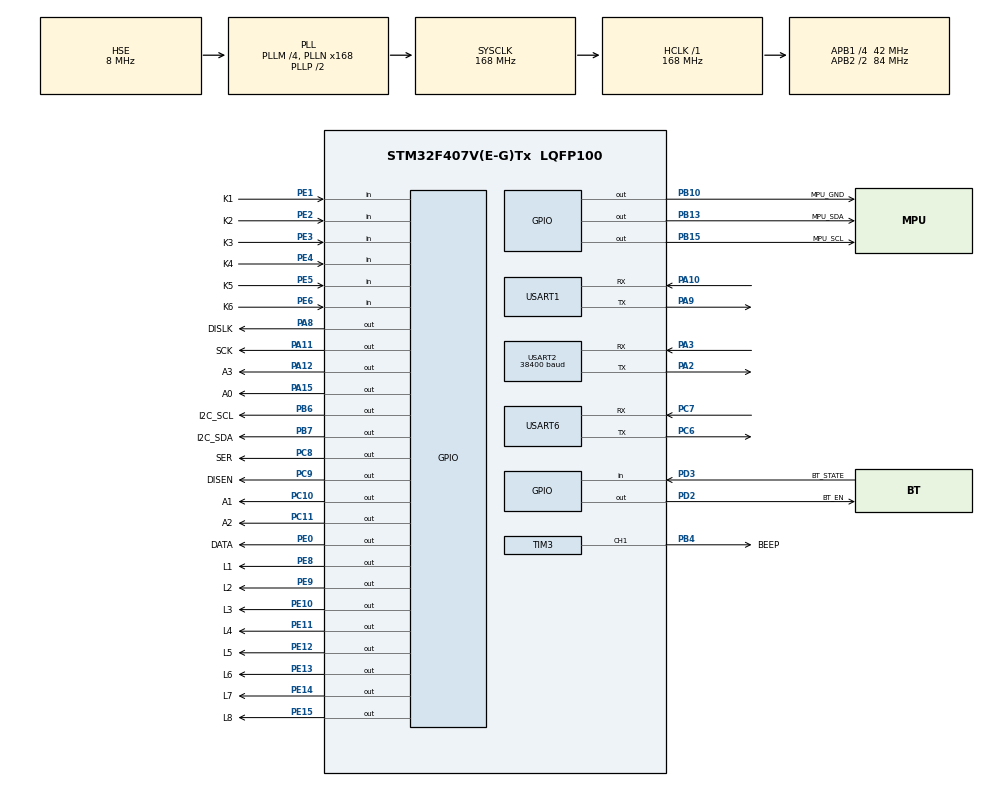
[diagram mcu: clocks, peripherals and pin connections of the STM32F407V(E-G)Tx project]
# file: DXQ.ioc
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Dma.Request0=USART2_RX
Dma.Request1=USART6_RX
Dma.Request2=USART1_RX
Dma.USART1_RX.2.Direction=DMA_PERIPH_TO_MEMORY
Dma.USART1_RX.2.FIFOMode=DMA_FIFOMODE_DISABLE
Dma.USART1_RX.2.Instance=DMA2_Stream2
Dma.USART1_RX.2.MemDataAlignment=DMA_MDATAALIGN_BYTE
Dma.USART1_RX.2.MemInc=DMA_MINC_ENABLE
Dma.USART1_RX.2.Mode=DMA_NORMAL
Dma.USART1_RX.2.PeriphDataAlignment=DMA_PDATAALIGN_BYTE
Dma.USART1_RX.2.PeriphInc=DMA_PINC_DISABLE
Dma.USART1_RX.2.Priority=DMA_PRIORITY_LOW
Dma.USART2_RX.0.Direction=DMA_PERIPH_TO_MEMORY
Dma.USART2_RX.0.FIFOMode=DMA_FIFOMODE_DISABLE
Dma.USART2_RX.0.Instance=DMA1_Stream5
Dma.USART2_RX.0.MemDataAlignment=DMA_MDATAALIGN_BYTE
Dma.USART2_RX.0.MemInc=DMA_MINC_ENABLE
Dma.USART2_RX.0.Mode=DMA_NORMAL
Dma.USART2_RX.0.PeriphDataAlignment=DMA_PDATAALIGN_BYTE
Dma.USART2_RX.0.PeriphInc=DMA_PINC_DISABLE
Dma.USART2_RX.0.Priority=DMA_PRIORITY_LOW
Dma.USART6_RX.1.Direction=DMA_PERIPH_TO_MEMORY
Dma.USART6_RX.1.FIFOMode=DMA_FIFOMODE_DISABLE
Dma.USART6_RX.1.Instance=DMA2_Stream1
Dma.USART6_RX.1.MemDataAlignment=DMA_MDATAALIGN_BYTE
Dma.USART6_RX.1.MemInc=DMA_MINC_ENABLE
Dma.USART6_RX.1.Mode=DMA_NORMAL
Dma.USART6_RX.1.PeriphDataAlignment=DMA_PDATAALIGN_BYTE
Dma.USART6_RX.1.PeriphInc=DMA_PINC_DISABLE
Dma.USART6_RX.1.Priority=DMA_PRIORITY_LOW
FREERTOS.Tasks01=MainTask,24,512,StartMainTask,Default,NULL,Dynamic,NULL,NULL;KeyTask,24,512,StartKeyTask,Default,NULL,Dynamic,NULL,NULL;UartTask,24,1024,StartUartTask,Default,NULL,Dynamic,NULL,NULL;GUITask,24,1024,StartGUITask,Default,NULL,Dynamic,NULL,NULL;DataTask,24,1024,StartDataTask,Default,NULL,Dynamic,NULL,NULL
FREERTOS.configTOTAL_HEAP_SIZE=30000
Mcu.Family=STM32F4
Mcu.Name=STM32F407V(E-G)Tx
Mcu.Package=LQFP100
NVIC.DMA1_Stream5_IRQn=true\:5\:0\:false\:false\:true\:true\:false\:true
NVIC.DMA2_Stream1_IRQn=true\:5\:0\:false\:false\:true\:true\:false\:true
NVIC.DMA2_Stream2_IRQn=true\:5\:0\:false\:false\:true\:true\:false\:true
NVIC.PriorityGroup=NVIC_PRIORITYGROUP_4
NVIC.TIM7_IRQn=true\:0\:0\:false\:false\:true\:false\:false\:true
NVIC.TimeBase=TIM7_IRQn
NVIC.TimeBaseIP=TIM7
NVIC.USART1_IRQn=true\:5\:0\:false\:false\:true\:true\:true\:true
NVIC.USART2_IRQn=true\:5\:0\:false\:false\:true\:true\:true\:true
NVIC.USART6_IRQn=true\:5\:0\:false\:false\:true\:true\:true\:true
PA10.Mode=Asynchronous
PA10.Signal=USART1_RX
PA11.GPIO_Label=SCK
PA11.Signal=GPIO_Output
PA12.GPIO_Label=A3
PA12.Signal=GPIO_Output
PA13.Mode=Serial_Wire
PA13.Signal=SYS_JTMS-SWDIO
PA14.Mode=Serial_Wire
PA14.Signal=SYS_JTCK-SWCLK
PA15.GPIO_Label=A0
PA15.Signal=GPIO_Output
PA2.Mode=Asynchronous
PA2.Signal=USART2_TX
PA3.Mode=Asynchronous
PA3.Signal=USART2_RX
PA8.GPIO_Label=DISLK
PA8.Signal=GPIO_Output
PA9.Mode=Asynchronous
PA9.Signal=USART1_TX
PB10.GPIO_Label=MPU_GND
PB10.Signal=GPIO_Output
PB13.GPIO_Label=MPU_SDA
PB13.GPIO_ModeDefaultOutputPP=GPIO_MODE_OUTPUT_OD
PB13.Signal=GPIO_Output
PB15.GPIO_Label=MPU_SCL
PB15.GPIO_ModeDefaultOutputPP=GPIO_MODE_OUTPUT_OD
PB15.Signal=GPIO_Output
PB4.GPIO_Label=BEEP
PB4.Signal=S_TIM3_CH1
PB6.GPIO_Label=I2C_SCL
PB6.GPIO_ModeDefaultOutputPP=GPIO_MODE_OUTPUT_OD
PB6.GPIO_Speed=GPIO_SPEED_FREQ_LOW
PB6.PinState=GPIO_PIN_RESET
PB6.Signal=GPIO_Output
PB7.GPIO_Label=I2C_SDA
PB7.GPIO_ModeDefaultOutputPP=GPIO_MODE_OUTPUT_OD
PB7.GPIO_Speed=GPIO_SPEED_FREQ_LOW
PB7.PinState=GPIO_PIN_RESET
PB7.Signal=GPIO_Output
PC10.GPIO_Label=A1
PC10.Signal=GPIO_Output
PC11.GPIO_Label=A2
PC11.Signal=GPIO_Output
PC6.Mode=Asynchronous
PC6.Signal=USART6_TX
PC7.Mode=Asynchronous
PC7.Signal=USART6_RX
PC8.GPIO_Label=SER
PC8.Signal=GPIO_Output
PC9.GPIO_Label=DISEN
PC9.Signal=GPIO_Output
PD2.GPIO_Label=BT_EN
PD2.Signal=GPIO_Output
PD3.GPIO_Label=BT_STATE
PD3.Signal=GPIO_Input
PE0.GPIO_Label=DATA
PE0.Signal=GPIO_Output
PE1.GPIO_Label=K1
PE1.GPIO_Mode=GPIO_MODE_INPUT
PE1.GPIO_PuPd=GPIO_PULLUP
PE1.Signal=GPIO_Input
PE10.GPIO_Label=L3
PE10.PinState=GPIO_PIN_SET
PE10.Signal=GPIO_Output
PE11.GPIO_Label=L4
PE11.PinState=GPIO_PIN_SET
PE11.Signal=GPIO_Output
PE12.GPIO_Label=L5
PE12.PinState=GPIO_PIN_SET
PE12.Signal=GPIO_Output
PE13.GPIO_Label=L6
PE13.PinState=GPIO_PIN_SET
PE13.Signal=GPIO_Output
PE14.GPIO_Label=L7
PE14.PinState=GPIO_PIN_SET
PE14.Signal=GPIO_Output
PE15.GPIO_Label=L8
PE15.PinState=GPIO_PIN_SET
PE15.Signal=GPIO_Output
PE2.GPIO_Label=K2
PE2.GPIO_Mode=GPIO_MODE_INPUT
PE2.GPIO_PuPd=GPIO_PULLUP
PE2.Signal=GPIO_Input
PE3.GPIO_Label=K3
PE3.GPIO_Mode=GPIO_MODE_INPUT
PE3.GPIO_PuPd=GPIO_PULLUP
PE3.Signal=GPIO_Input
PE4.GPIO_Label=K4
PE4.GPIO_Mode=GPIO_MODE_INPUT
PE4.GPIO_PuPd=GPIO_PULLUP
PE4.Signal=GPIO_Input
PE5.GPIO_Label=K5
PE5.GPIO_Mode=GPIO_MODE_INPUT
PE5.GPIO_PuPd=GPIO_PULLDOWN
PE5.Signal=GPIO_Input
PE6.GPIO_Label=K6
PE6.GPIO_Mode=GPIO_MODE_INPUT
PE6.GPIO_PuPd=GPIO_PULLDOWN
PE6.Signal=GPIO_Input
PE8.GPIO_Label=L1
PE8.PinState=GPIO_PIN_SET
PE8.Signal=GPIO_Output
PE9.GPIO_Label=L2
PE9.PinState=GPIO_PIN_SET
PE9.Signal=GPIO_Output
PH0-OSC_IN.Mode=HSE-External-Oscillator
PH0-OSC_IN.Signal=RCC_OSC_IN
PH1-OSC_OUT.Mode=HSE-External-Oscillator
PH1-OSC_OUT.Signal=RCC_OSC_OUT
ProjectManager.HeapSize=0x200
ProjectManager.StackSize=0x400
ProjectManager.TargetToolchain=MDK-ARM V5.27
RCC.48MHZClocksFreq_Value=84000000
RCC.AHBFreq_Value=168000000
RCC.APB1CLKDivider=RCC_HCLK_DIV4
RCC.APB1Freq_Value=42000000
RCC.APB1TimFreq_Value=84000000
RCC.APB2CLKDivider=RCC_HCLK_DIV2
RCC.APB2Freq_Value=84000000
RCC.APB2TimFreq_Value=168000000
RCC.CortexFreq_Value=168000000
RCC.HCLKFreq_Value=168000000
RCC.HSE_VALUE=8000000
RCC.HSI_VALUE=16000000
RCC.LSE_VALUE=32768
RCC.PLLM=4
RCC.PLLN=168
RCC.PLLSourceVirtual=RCC_PLLSOURCE_HSE
RCC.SYSCLKFreq_VALUE=168000000
RCC.SYSCLKSource=RCC_SYSCLKSOURCE_PLLCLK
RCC.VCOOutputFreq_Value=336000000
SH.S_TIM3_CH1.0=TIM3_CH1,PWM Generation1 CH1
TIM3.Channel-PWM\ Generation1\ CH1=TIM_CHANNEL_1
TIM3.Period=1000-1
TIM3.Prescaler=84-1
TIM3.Pulse-PWM\ Generation1\ CH1=500
USART1.VirtualMode=VM_ASYNC
USART2.BaudRate=38400
USART2.VirtualMode=VM_ASYNC
USART6.VirtualMode=VM_ASYNC
VP_FREERTOS_VS_CMSIS_V2.Mode=CMSIS_V2
VP_SYS_VS_tim7.Mode=TIM7
VP_TIM3_VS_ClockSourceINT.Mode=Internal
board=custom

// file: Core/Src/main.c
/* USER CODE BEGIN Header */
/**
  ******************************************************************************
  * @file           : main.c
  * @brief          : Main program body
  ******************************************************************************
  * @attention
  *
  * <h2><center>&copy; Copyright (c) 2021 STMicroelectronics.
  * All rights reserved.</center></h2>
  *
  * This software component is licensed by ST under Ultimate Liberty license
  * SLA0044, the "License"; You may not use this file except in compliance with
  * the License. You may obtain a copy of the License at:
  *                             www.st.com/SLA0044
  *
  ******************************************************************************
  */
/* USER CODE END Header */
#include "main.h"
#include "cmsis_os.h"
#include "dma.h"
#include "tim.h"
#include "usart.h"
#include "gpio.h"

void SystemClock_Config(void);
void MX_FREERTOS_Init(void);

int main(void)
{

  /* MCU Configuration--------------------------------------------------------*/

  /* Reset of all peripherals, Initializes the Flash interface and the Systick. */
  HAL_Init();

  /* Configure the system clock */
  SystemClock_Config();

  /* Initialize all configured peripherals */
  MX_GPIO_Init();
  MX_DMA_Init();
  MX_USART1_UART_Init();
  MX_TIM3_Init();
  MX_USART2_UART_Init();
  MX_USART6_UART_Init();

  /* Init scheduler */
  osKernelInitialize();  /* Call init function for freertos objects (in freertos.c) */
  MX_FREERTOS_Init();
  /* Start scheduler */
  osKernelStart();

  /* We should never get here as control is now taken by the scheduler */
  /* Infinite loop */
  while (1)
  {

  }
}

void SystemClock_Config(void)
{
  RCC_OscInitTypeDef RCC_OscInitStruct = {0};
  RCC_ClkInitTypeDef RCC_ClkInitStruct = {0};

  /** Configure the main internal regulator output voltage
  */
  __HAL_RCC_PWR_CLK_ENABLE();
  __HAL_PWR_VOLTAGESCALING_CONFIG(PWR_REGULATOR_VOLTAGE_SCALE1);
  /** Initializes the RCC Oscillators according to the specified parameters
  * in the RCC_OscInitTypeDef structure.
  */
  RCC_OscInitStruct.OscillatorType = RCC_OSCILLATORTYPE_HSE;
  RCC_OscInitStruct.HSEState = RCC_HSE_ON;
  RCC_OscInitStruct.PLL.PLLState = RCC_PLL_ON;
  RCC_OscInitStruct.PLL.PLLSource = RCC_PLLSOURCE_HSE;
  RCC_OscInitStruct.PLL.PLLM = 4;
  RCC_OscInitStruct.PLL.PLLN = 168;
  RCC_OscInitStruct.PLL.PLLP = RCC_PLLP_DIV2;
  RCC_OscInitStruct.PLL.PLLQ = 4;
  if (HAL_RCC_OscConfig(&RCC_OscInitStruct) != HAL_OK)
  {
    Error_Handler();
  }
  /** Initializes the CPU, AHB and APB buses clocks
  */
  RCC_ClkInitStruct.ClockType = RCC_CLOCKTYPE_HCLK|RCC_CLOCKTYPE_SYSCLK
                              |RCC_CLOCKTYPE_PCLK1|RCC_CLOCKTYPE_PCLK2;
  RCC_ClkInitStruct.SYSCLKSource = RCC_SYSCLKSOURCE_PLLCLK;
  RCC_ClkInitStruct.AHBCLKDivider = RCC_SYSCLK_DIV1;
  RCC_ClkInitStruct.APB1CLKDivider = RCC_HCLK_DIV4;
  RCC_ClkInitStruct.APB2CLKDivider = RCC_HCLK_DIV2;

  if (HAL_RCC_ClockConfig(&RCC_ClkInitStruct, FLASH_LATENCY_5) != HAL_OK)
  {
    Error_Handler();
  }
}

 /**
  * @brief  Period elapsed callback in non blocking mode
  * @note   This function is called  when TIM7 interrupt took place, inside
  * HAL_TIM_IRQHandler(). It makes a direct call to HAL_IncTick() to increment
  * a global variable "uwTick" used as application time base.
  * @param  htim : TIM handle
  * @retval None
  */
void HAL_TIM_PeriodElapsedCallback(TIM_HandleTypeDef *htim)
{
  if (htim->Instance == TIM7) {
    HAL_IncTick();
  }
}

void Error_Handler(void)
{
  __disable_irq();
  while (1)
  {
  }
}

/************************ (C) COPYRIGHT STMicroelectronics *****END OF FILE****/

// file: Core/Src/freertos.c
/* USER CODE BEGIN Header */
/**
  ******************************************************************************
  * File Name          : freertos.c
  * Description        : Code for freertos applications
  ******************************************************************************
  * @attention
  *
  * <h2><center>&copy; Copyright (c) 2021 STMicroelectronics.
  * All rights reserved.</center></h2>
  *
  * This software component is licensed by ST under Ultimate Liberty license
  * SLA0044, the "License"; You may not use this file except in compliance with
  * the License. You may obtain a copy of the License at:
  *                             www.st.com/SLA0044
  *
  ******************************************************************************
  */
/* USER CODE END Header */

#include "FreeRTOS.h"
#include "task.h"
#include "main.h"
#include "cmsis_os.h"

/* USER CODE BEGIN Includes */
#include "gpio.h"
#include "GUI.h"
#include <stdio.h>
#include <stdlib.h>
#include "tim.h"
#include "DS_18B20.h"
#include "MPU6050.h"
#include "string.h"
#include "Display_3D.h"
#include "comm.h"
#include "ESP01.h"

/* USER CODE END Includes */

/* USER CODE BEGIN PD */
#define WS_LOGO 0
#define WS_GUI1 1
#define WS_GUI2 2
#define WS_GUI3 3
#define WS_GUI4 4
#define MAX_DATA_LEN 77
extern GUI_FLASH const GUI_FONT GUI_FontHZ_KaiTi_20;  //导入字体库和图片
extern GUI_FLASH const GUI_FONT GUI_FontHZ_KaiTi_16;
extern GUI_FLASH const GUI_FONT GUI_FontHZ_SimSun_12;
extern GUI_CONST_STORAGE GUI_BITMAP bmh;
extern GUI_CONST_STORAGE GUI_BITMAP bmz;

/* USER CODE END PD */

/* USER CODE BEGIN Variables */
int g_ws = WS_LOGO;    //表示当前的UI界面
uint32_t intick = 0;   //用于记录时间戳

volatile float temp = 0;

uint8_t tempwarn = 0;
uint8_t mpuwarn = 0;
uint8_t g_bUping = 0;
uint8_t g_mpustep = 7;     //震动检测灵敏度
uint8_t g_warntime = 30;   //报警时长
uint16_t g_upstep = 100;   //上传间隔
float templimit = 35.0f;   //温度上限

uint8_t paridx = 0;        //参数索引

uint8_t pageidx = 0;
uint8_t g_fax_data[MAX_DATA_LEN];
uint8_t g_fay_data[MAX_DATA_LEN];
uint8_t g_faz_data[MAX_DATA_LEN];
uint8_t g_temp_data[MAX_DATA_LEN];
uint16_t curve_speed = 1000;
uint32_t warntick = 0;
uint32_t K1234_tick = 0;
uint32_t beeptick = 0;
float curve_fax = 0;
float curve_fay = 0;
float curve_faz = 0;
float curve_temp = 0;
float tempMin = 20;
float tempMax = 40;

unsigned char TAB_Kai[128] = {	/* 楷 0xbfac*/
________,________,________,________,
________,________,________,________,
________,________,________,________,
________,________,________,________,
_____XXX,____XXX_,____XXX_,________,
_____XXX,____XX__,____XX__,________,
_____XXX,____XX__,____XX__,________,
_____XXX,____XX__,____XX__,__XX____,
_____XXX,____XXXX,XXX_XX__,_XXXX___,
_____XXX,____XX__,____XX_X,XXX_____,
_XXXXXXX,XXXXXX__,____XXXX,X_______,
_____XXX,____XX__,____XXXX,________,
_____XXX,____XX__,XXX_XX__,________,
_____XXX,____XXXX,XXX_XX__,___X____,
_____XXX,X__XXXXX,X___XX__,___XX___,
____XXXX,XX_XXX__,____XXX_,__XXX___,
____XXXX,XXX_____,__X__XXX,XXXX____,
___XXXXX,_XX_____,_XXX____,________,
___XXXXX,_XX_____,_XX_____,________,
__XXXXXX,________,_XX_____,________,
_XXX_XXX,_____XXX,XXXXXXXX,XX______,
_XXX_XXX,_____XX_,________,XX______,
_XX__XXX,_____XX_,________,XX______,
_____XXX,_____XX_,________,XX______,
_____XXX,_____XXX,XXXXXXXX,XX______,
_____XXX,_____XX_,________,XX______,
_____XXX,_____XX_,________,XX______,
_____XXX,_____XX_,________,XX______,
_____XXX,_____XXX,XXXXXXXX,XX______,
_____XXX,_____XX_,________,XX______,
_____XXX,_____XX_,________,XX______,
________,________,________,________
};

unsigned char TAB_Wen[128] = {	/* 文 0xcec4*/
________,________,________,________,
________,________,________,________,
________,______X_,________,________,
________,______XX,________,________,
________,_______X,X_______,________,
________,_______X,XX______,________,
________,_______X,XX______,___X____,
________,________,X_______,__XXX___,
__XXXXXX,XXXXXXXX,XXXXXXXX,XXXXXX__,
________,__X_____,____XXX_,________,
________,__X_____,____XX__,________,
________,__X_____,____XX__,________,
________,__XX____,___XXX__,________,
________,___X____,___XXX__,________,
________,___X____,___XX___,________,
________,___XX___,__XXX___,________,
________,____X___,__XXX___,________,
________,____XX__,__XX____,________,
________,____XX__,_XXX____,________,
________,_____XX_,_XX_____,________,
________,_____XXX,XXX_____,________,
________,______XX,XX______,________,
________,______XX,X_______,________,
________,______XX,XX______,________,
________,_____XXX,XXX_____,________,
________,___XXX__,_XXXX___,________,
________,__XXX___,__XXXXX_,________,
________,XXXX____,____XXXX,XXX_____,
______XX,XX______,______XX,XXXXXX__,
____XXX_,________,________,XXXX____,
__XX____,________,________,________,
________,________,________,________
};

/* USER CODE END Variables */
/* Definitions for MainTask */
osThreadId_t MainTaskHandle;
const osThreadAttr_t MainTask_attributes = {
  .name = "MainTask",
  .stack_size = 512 * 4,
  .priority = (osPriority_t) osPriorityNormal,
};
/* Definitions for KeyTask */
osThreadId_t KeyTaskHandle;
const osThreadAttr_t KeyTask_attributes = {
  .name = "KeyTask",
  .stack_size = 512 * 4,
  .priority = (osPriority_t) osPriorityNormal,
};
/* Definitions for UartTask */
osThreadId_t UartTaskHandle;
const osThreadAttr_t UartTask_attributes = {
  .name = "UartTask",
  .stack_size = 1024 * 4,
  .priority = (osPriority_t) osPriorityNormal,
};
/* Definitions for GUITask */
osThreadId_t GUITaskHandle;
const osThreadAttr_t GUITask_attributes = {
  .name = "GUITask",
  .stack_size = 1024 * 4,
  .priority = (osPriority_t) osPriorityNormal,
};
/* Definitions for DataTask */
osThreadId_t DataTaskHandle;
const osThreadAttr_t DataTask_attributes = {
  .name = "DataTask",
  .stack_size = 1024 * 4,
  .priority = (osPriority_t) osPriorityNormal,
};

/* USER CODE BEGIN FunctionPrototypes */
void WSLogo(void);
void DrawLogo(void);
void DrawGUI1(void);
void DrawGUI2(void);
void DrawGUI3(void);
void DrawGUI4(void);
void Beep(int time,int tune);
void BeepDone(void);
void DispSeg(uint8_t num[4],uint8_t dot);
void InitESP8266(void);

/* USER CODE END FunctionPrototypes */

void StartMainTask(void *argument);
void StartKeyTask(void *argument);
void StartUartTask(void *argument);
void StartGUITask(void *argument);
void StartDataTask(void *argument);

void MX_FREERTOS_Init(void); /* (MISRA C 2004 rule 8.1) */

void MX_FREERTOS_Init(void) {

  /* Create the thread(s) */
  /* creation of MainTask */
  MainTaskHandle = osThreadNew(StartMainTask, NULL, &MainTask_attributes);

  /* creation of KeyTask */
  KeyTaskHandle = osThreadNew(StartKeyTask, NULL, &KeyTask_attributes);

  /* creation of UartTask */
  UartTaskHandle = osThreadNew(StartUartTask, NULL, &UartTask_attributes);

  /* creation of GUITask */
  GUITaskHandle = osThreadNew(StartGUITask, NULL, &GUITask_attributes);

  /* creation of DataTask */
  DataTaskHandle = osThreadNew(StartDataTask, NULL, &DataTask_attributes);

}

void StartMainTask(void *argument)
{
  /* USER CODE BEGIN StartMainTask */
	uint8_t num[4] = {0};
  /* Infinite loop */
  for(;;)
  {
		switch(g_ws)
		{
			case WS_LOGO:
				WSLogo();
			  break;
			default:
				SetLeds(0);
			  break;
		}

		if((tempwarn || mpuwarn) && g_warntime > 0)
		{
			if(warntick == 0)
				warntick = osKernelGetTickCount();
			else if(osKernelGetTickCount() >= warntick + 1000 * g_warntime)
			{
				tempwarn = mpuwarn = 0;
				warntick = 0;
			}
			else
			{
				uint32_t tic = warntick + 1000 * g_warntime - osKernelGetTickCount();
				num[0] = (tic / 10000) % 10;
				num[1] = (tic / 1000) % 10;
				num[2] = (tic / 100) % 10;
				num[3] = (tic / 10) % 10;

				if((num[2] == 1 || num[2] == 3 || num[2] == 5) && mpuwarn == 1)
					Beep(100,num[2]);
				if((num[2] == 2 || num[2] == 4 || num[2] == 6) && tempwarn == 1)
					Beep(100,num[2]);
			}
		}
		else
			num[0] = num[1] = num[2] = num[3] = ' ';

		DispSeg(num,2);
		BeepDone();

    osDelay(1);
  }
  /* USER CODE END StartMainTask */
}

void StartKeyTask(void *argument)
{
  /* USER CODE BEGIN StartKeyTask */
  /* Infinite loop */
  for(;;)
  {
		uint8_t key = ScanKey();  //获取按键值
		if (key > 0)
			printf("%02X\n",key);   //在串口上输出按键值

		if((mpuwarn || tempwarn) == 0)
		{
			K1234_tick = 0;
			switch(g_ws)
			{
				case WS_LOGO:
					if(key == KEY5)       //按下KEY5就直接进入主界面，计时器归零
					{
						g_ws = WS_GUI1;
						intick = 0;
					}
					break;
				case WS_GUI1:
					if(key == KEY1)
					{
						g_ws = WS_GUI4;
						pageidx = 0;
					}
					else if(key == KEY4)
					{
						g_ws = WS_GUI2;
						pageidx = 0;
					}
					else if(key == KEY2)
					{
						if(pageidx > 0)
							--pageidx;
					}
					else if(key == KEY3)
					{
						if(pageidx < 2)
							++pageidx;
					}
					else if(key == KEY6)
					{
						g_ws = WS_LOGO;
						pageidx = 0;
					}
					break;
				case WS_GUI2:
					if(key == KEY1)
					{
						g_ws = WS_GUI1;
						pageidx = 0;
					}
					else if(key == KEY4)
					{
						g_ws = WS_GUI3;
						InitESP8266();
						pageidx = 0;
					}
					else if(key == KEY2)
					{
						if(pageidx > 0)
							--pageidx;
					}
					else if(key == KEY3)
					{
						if(pageidx < 4)
							++pageidx;
					}
					else if(key == KEY6)
					{
						g_ws = WS_LOGO;
						pageidx = 0;
					}
          else if(key == KEY5)
					{
						if(curve_speed == 50)
							curve_speed = 1000;
						else
							curve_speed = 50;
					}
					break;
				case WS_GUI3:
					if(key == KEY1)
					{
						g_ws = WS_GUI2;
						pageidx = 0;
					}
					else if(key == KEY4)
					{
						g_ws = WS_GUI4;
						pageidx = 0;
					}
					else if(key == KEY2)
					{
						g_bUping = 0;
					}
					else if(key == KEY3)
					{
						g_bUping = 1;
					}
					else if(key == KEY5)
					{
						if(pageidx == 0)
						{
							InitESP8266();
						}
					}
					else if(key == KEY6)
					{
						g_ws = WS_LOGO;
						pageidx = 0;
					}
					break;
				case WS_GUI4:
					if(key == KEY1)
					{
						g_ws = WS_GUI3;
						pageidx = 0;
						InitESP8266();
					}
					else if(key == KEY4)
					{
						g_ws = WS_GUI1;
						pageidx = 0;
					}
					else if(key == KEY5)
					{
						++paridx;
						paridx %= 4;
					}
					else if(key == KEY2)
					{
						if(paridx == 0)
						{
							if(templimit > 0)
								templimit -= 1;
						}
						if(paridx == 1)
						{
							if(g_mpustep > 0)
								--g_mpustep;
						}
						if(paridx == 2)
						{
							if(g_warntime > 0)
								--g_warntime;
						}
						if(paridx == 3)
						{
							if(g_upstep > 100)
								g_upstep -= 100;
						}
					}
					else if(key == KEY3)
					{
						if(paridx == 0)
						{
							if(templimit < 90)
								templimit += 1;
						}
						if(paridx == 1)
						{
							if(g_mpustep < 9)
								++g_mpustep;
						}
						if(paridx == 2)
						{
							if(g_warntime < 60)
								++g_warntime;
						}
						if(paridx == 3)
						{
							if(g_upstep < 10000)
								g_upstep += 100;
						}
					}
					else if(key == KEY6)
					{
						g_ws = WS_LOGO;
						pageidx = 0;
					}
					break;
				default:
					if(key == KEY6)
					{
						g_ws = WS_LOGO;
						pageidx = 0;
					}
					break;
				}
		}
		else
		{
			if(key == (KEY1 | KEY2 | KEY3 | KEY4))
			{

				if(K1234_tick == 0)
					K1234_tick = osKernelGetTickCount();
				else
					if(osKernelGetTickCount() >= K1234_tick + 3000)
					{
						mpuwarn = tempwarn = 0;
						K1234_tick = 0;
						warntick = 0;
					}
			}
			else
			{
				if(key > 0)
					K1234_tick = 0;
			}
		}

    osDelay(1);
  }
  /* USER CODE END StartKeyTask */
}

void StartUartTask(void *argument)
{
  /* USER CODE BEGIN StartUartTask */
	StartRecvUart1();
	ESP_Init();
  /* Infinite loop */
  for(;;)
  {
		if(recv1_len > 0)
		{
			printf("%s",recv1_buff);
			recv1_len = 0;
		}

		ESP_Proc();
		if(esp8266.recv_len > 0)
		{
			printf("%s",esp8266.recv_data);
			char *pb = (char *)(esp8266.recv_data);
			char buf[40];
			if(pb[0] == 'Q' && pb[1] == 'P' && pb[2] == 'A' && pb[3] == 'R' && pb[4] == 'A')   //查询函数、应答
			{
				sprintf(buf,"P1:%.0f, P2:%d, P3:%d, P4:%d\n",templimit,g_mpustep,g_warntime,g_upstep);
				USendStr(&huart6,(uint8_t *)buf,strlen(buf));
			}
			else if(pb[0] == 'P' && pb[1] == '1' && pb[2] == ':')                              //参数设置
			{
				templimit = atof(pb + 3);
				pb = strstr(pb,"P2:");
				if(pb)
				{
					g_mpustep = atoi(pb + 3);

					pb = strstr(pb,"P3:");
					if(pb)
					{
						g_warntime = atoi(pb + 3);

						pb = strstr(pb,"P4:");
						if(pb)
						{
							g_upstep = atoi(pb + 3);

							USendStr(&huart6,(uint8_t *)"OK\n",3);
						}
					}
				}
			}
			else if(pb[0] == 'O' && pb[1] == 'P' && pb[2] == 'E' && pb[3] == 'N')
				g_bUping = 1;
			else if(pb[0] == 'S' && pb[1] == 'T' && pb[2] == 'O' && pb[3] == 'P')
				g_bUping = 0;

			esp8266.recv_len = 0;
		}

    osDelay(1);
  }
  /* USER CODE END StartUartTask */
}

void StartGUITask(void *argument)
{
  /* USER CODE BEGIN StartGUITask */
  /* Infinite loop */
	GUI_Init();
    for(;;)
    {
			switch(g_ws)
			{
				case WS_LOGO:
					DrawLogo();
					break;
				case WS_GUI1:
					DrawGUI1();
					break;
				case WS_GUI2:
					DrawGUI2();
					break;
				case WS_GUI3:
					DrawGUI3();
					break;
				case WS_GUI4:
					DrawGUI4();
					break;
				default:
					break;
			}
      osDelay(100);
    }
  /* USER CODE END StartGUITask */
}

void StartDataTask(void *argument)
{
  /* USER CODE BEGIN StartDataTask */
	osDelay(1000);

	ds18b20_init();

	uint8_t mpuok = MPU_init();
	uint8_t cnt = 0;
	uint8_t idx = 0;
	uint8_t temp_idx = 0;
	float ft;
	float tempAvg = (tempMin + tempMax) / 2;
	while(cnt++ < 5 && !mpuok)
	{
		osDelay(500);
		mpuok = MPU_init();
	}

	uint32_t dstick = 0;
	uint32_t dscurvetick = 0;
	uint32_t mputick = 0;
	uint32_t mpucurvetick = 0;
	uint32_t uptick=0;

	int warcnt = 0;

  /* Infinite loop */
  for(;;)
  {
		if(osKernelGetTickCount() >= dstick + 500)
		{
			dstick = osKernelGetTickCount();
			ft = ds18b20_read();
    }
		if(ft < 125)
		{
				temp = ft;
				if(osKernelGetTickCount() >= dscurvetick + curve_speed)
				{
					tempAvg = (tempMin + tempMax) / 2;
					dscurvetick = osKernelGetTickCount();
					curve_temp = temp;
					g_temp_data[temp_idx] = 32 - (curve_temp - tempAvg) * (40 / (tempMax - tempMin));
					++temp_idx;
					if(temp_idx >= MAX_DATA_LEN)
					{
						memcpy(g_temp_data,g_temp_data + 1,MAX_DATA_LEN - 1);

						temp_idx = MAX_DATA_LEN - 1;
					}
				}

				if(temp >= templimit)
				{
					printf("temp:%.1f\n",temp);
					tempwarn = 1;
				}
		}

		if(mpuok)
		{
			if(osKernelGetTickCount() >= mputick + 50)
			{
				mputick = osKernelGetTickCount();
				MPU_getdata();
				if(osKernelGetTickCount() >= mpucurvetick + curve_speed)
				{
					mpucurvetick = osKernelGetTickCount();
					curve_fax = fAX;
					curve_fay = fAY;
					curve_faz = fAZ;
					g_fax_data[idx] = 32 - fAX * 20 / 90;
					g_fay_data[idx] = 32 - fAY * 20 / 180;
					g_faz_data[idx] = 32 - fAZ * 20 / 180;
					++idx;
					if(idx >= MAX_DATA_LEN)
					{
						memcpy(g_fax_data,g_fax_data + 1,MAX_DATA_LEN - 1);
						memcpy(g_fay_data,g_fay_data + 1,MAX_DATA_LEN - 1);
						memcpy(g_faz_data,g_faz_data + 1,MAX_DATA_LEN - 1);

						idx = MAX_DATA_LEN - 1;
					}
				}

				if(g_mpustep > 0 && (ax * ax + ay * ay + az * az > 150000000 * (10 - g_mpustep)))
				{
					if(++warcnt >= 5)
					{
						mpuwarn = 1;
						printf("axyz:%6d %6d %6d, gxyz:%6d %6d %6d\n",ax,ay,az,gx,gy,gz);
					}
				}
				else
					warcnt = 0;
			}
		}

		if(g_bUping && esp8266.bconn)
		{
			if(osKernelGetTickCount() >= uptick + g_upstep)
			{
				uptick = osKernelGetTickCount();

				char buf[100];
				sprintf(buf,"T:%4.1f, A:%6d %6d %6d,G:%6d %6d %6d, F:%5.1f %5.1f %5.1f, W:%d\n",
				        temp,ax,ay,az,gx,gy,gz,fAX,fAY,fAZ,(tempwarn ? 1 : 0) + (mpuwarn ? 2 : 0));
				USendStr(&huart6,(uint8_t *)buf,strlen(buf));
			}
		}
    osDelay(1);
  }
  /* USER CODE END StartDataTask */
}

/* USER CODE BEGIN Application */
void WSLogo(void)
{
	static uint32_t tick = 0;
	static uint8_t leds_sta = 0x00;

	if(intick == 0)                          //如果计时器为0，说明没有初始化
		intick = osKernelGetTickCount();       //计时器读取当前时间戳
	else
	{
		if(osKernelGetTickCount() >= intick + 8000)  //如果距离启动已经过去8秒，进入主界面
		{
			intick = 0;                          //复位计时器
			g_ws = WS_GUI1;
			Beep(500,3);                           //蜂鸣器鸣叫
		}
	}

	SetLeds(leds_sta);                       //设置LED灯
	if(osKernelGetTickCount() >= tick + 500) //每过1秒翻转一次LED
	{
		leds_sta = ~leds_sta;
		tick = osKernelGetTickCount();         //更新另一个计时器tick的值
	}
}

void DrawLogo(void)
{
	if(intick == 0)
		intick = osKernelGetTickCount();
	else
	{
		if(osKernelGetTickCount() <= intick + 2000)  //0-1秒末
		{
			GUI_Clear();          //清屏
			GUI_SetFont(&GUI_FontHZ_KaiTi_20);   //设置字体
			GUI_DispStringHCenterAt("防火、防盗远\n程监测器设计",64,12);   //屏幕为128*64
			GUI_Update();        //刷新屏幕来显示内容
		}
		else if((osKernelGetTickCount() <= intick + 5000))  //2秒初-4秒末
		{
			GUI_Clear();
			GUI_SetFont(&GUI_FontHZ_KaiTi_16);
			GUI_DispStringHCenterAt("成员1:周楷文",64,0);
			GUI_DispStringHCenterAt("18041838",96,16);
			GUI_DispStringHCenterAt("成员2:胡彦成",64,32);
			GUI_DispStringHCenterAt("18041814",96,50);
			GUI_Update();
		}
		else if((osKernelGetTickCount() <= intick + 8000))  //5秒初-7秒末
		{
			GUI_Clear();
			GUI_DrawBitmap(&bmz,0,0);
			GUI_DrawBitmap(&bmh,64,0);
			GUI_Update();
		}
		else
			intick = 0;
	}
}

void DrawGUI1(void)
{
	GUI_Clear();
	GUI_SetFont(&GUI_FontHZ_SimSun_12);
	GUI_SetColor(GUI_COLOR_BLACK);
	GUI_DispStringAt("实时监测",0,0);
	GUI_SetColor(GUI_COLOR_WHITE);
	GUI_DispStringAt("数据曲线",0,13);
	GUI_DispStringAt("无线通信",0,26);
	GUI_DispStringAt("参数设置",0,39);
	GUI_DispStringAt("K1︽  K2《 K3》  K4︾",0,52);

	GUI_DrawHLine(52,0,128);
	GUI_DrawVLine(48,0,52);

	char buf[20];

	if(pageidx == 0)
	{
		GUI_DispStringAt("当前温度:",50,0);
		GUI_DispStringAt("震动报警:",50,26);
		sprintf(buf,"%.1f℃",temp);
		GUI_DispStringAt(buf,90,13);
		GUI_DispStringAt(mpuwarn ? "是" : "否",90,39);
	}
	else if(pageidx == 1)
	{
		sprintf(buf,"ax:%6d",ax);
		GUI_DispStringAt(buf,50,0);
		if(ax > 0)
			GUI_FillRect(70,13,70 + ax * 55 /32768,16);
		else if(ax < 0)
			GUI_DrawRect(70,30,70 + ax * 55 /32768,33);
		sprintf(buf,"ay:%6d",ay);
		GUI_DispStringAt(buf,50,17);
		if(ay > 0)
			GUI_FillRect(70,30,70 + ay * 55 /32768,33);
		else if(ay < 0)
			GUI_DrawRect(70,13,70 + ay * 55 /32768,16);
		sprintf(buf,"az:%6d",az);
		GUI_DispStringAt(buf,50,34);
		if(az > 0)
			GUI_FillRect(70,47,70 + az * 55 /32768,50);
		else if(az < 0)
			GUI_DrawRect(70,47,70 + az * 55 /32768,50);
	}
	else if(pageidx == 2)
	{
		sprintf(buf,"gx:%6d",gx);
		GUI_DispStringAt(buf,50,0);
		if(gx > 0)
			GUI_FillRect(70,13,70 + gx * 55 /32768,16);
		else if(gx < 0)
			GUI_DrawRect(70,30,70 + gx * 55 /32768,33);
		sprintf(buf,"gy:%6d",gy);
		GUI_DispStringAt(buf,50,17);
		if(gy > 0)
			GUI_FillRect(70,30,70 + gy * 55 /32768,33);
		else if(gy < 0)
			GUI_DrawRect(70,13,70 + gy * 55 /32768,16);
		sprintf(buf,"gz:%6d",gz);
		GUI_DispStringAt(buf,50,34);
		if(gz > 0)
			GUI_FillRect(70,47,70 + gz * 55 /32768,50);
		else if(gz < 0)
			GUI_DrawRect(70,47,70 + gz * 55 /32768,50);
	}
	GUI_Update();
}

void DrawGUI2(void)
{
	char str[30];

	GUI_Clear();
	GUI_SetFont(&GUI_FontHZ_SimSun_12);
	GUI_DispStringAt("实时监测",0,0);
	GUI_SetColor(GUI_COLOR_BLACK);
	GUI_DispStringAt("数据曲线",0,13);
	GUI_SetColor(GUI_COLOR_WHITE);
	GUI_DispStringAt("无线通信",0,26);
	GUI_DispStringAt("参数设置",0,39);
	GUI_DispStringAt("K1︽  K2《 K3》  K4︾",0,52);

	GUI_DrawHLine(52,0,128);
	GUI_DrawVLine(48,0,52);

	uint8_t i;
	int sw = 128 - 48;
	int sh = 64 - 12 - 12;
	int ox = 48;
	int oy = 12 + sh;
//	float dh = sh/(tempMax - tempMin);
	int tt = (((int)(temp) + 4) / 10) * 10;
	tempMin = tt - 10;
	tempMax = tt + 10;

	switch(pageidx)
	{
		case 0:
			GUI_DrawHLine(32,51,128);
		  sprintf(str,"温度:%.1f℃",temp);
		  for(i = 0;i < MAX_DATA_LEN - 1;++i)
				GUI_DrawLine(51 + i,g_temp_data[i],51 + i + 1,g_temp_data[i + 1]);
			if(templimit >= 20 && templimit <= 40)
			{
				for(i = 51;i <= 128;i+=2)
					GUI_DrawPixel(i,52 - (templimit - tempMin) * 2);
			}
			break;
		case 1:
	    GUI_DrawHLine(32,51,128);
			sprintf(str,"俯仰角:%.1f°",curve_fax);
		  for(i = 0;i < MAX_DATA_LEN - 1;++i)
				GUI_DrawLine(51 + i,g_fax_data[i],51 + i + 1,g_fax_data[i + 1]);
			break;
		case 2:
			GUI_DrawHLine(32,51,128);
			sprintf(str,"横滚角:%.1f°",curve_fay);
		  for(i = 0;i < MAX_DATA_LEN - 1;++i)
				GUI_DrawLine(51 + i,g_fay_data[i],51 + i + 1,g_fay_data[i + 1]);
			break;
		case 3:
			GUI_DrawHLine(32,51,128);
			sprintf(str,"航向角:%.1f°",curve_faz);
		  for(i = 0;i < MAX_DATA_LEN - 1;++i)
				GUI_DrawLine(51 + i,g_faz_data[i],51 + i +1,g_faz_data[i + 1]);
			break;
		case 4:
			ox = (48 + 128) / 2;
		  oy = (12 + 40) / 2 + 2;
		  RateCube(fAX,fAY,fAZ,GUI_COLOR_WHITE,ox,oy);
//		  RotatePic32X32(TAB_Kai,fAX,fAY,fAZ,GUI_COLOR_WHITE,ox - 16,oy - 16,16);
			break;
		default:
			sprintf(str,"俯仰角:%.1f°",curve_fax);
		  for(i = 0;i < MAX_DATA_LEN - 1;++i)
				GUI_DrawLine(51 + i,g_fax_data[i],51 + i +1,g_fax_data[i + 1]);
			break;
	}
	GUI_DispStringAt(str,51,0);

	GUI_Update();
}

void DrawGUI3(void)
{
	char buf[30];
	GUI_Clear();
	GUI_SetFont(&GUI_FontHZ_SimSun_12);
	GUI_DispStringAt("实时监测",0,0);
	GUI_DispStringAt("数据曲线",0,13);
	GUI_SetColor(GUI_COLOR_BLACK);
	GUI_DispStringAt("无线通信",0,26);
	GUI_SetColor(GUI_COLOR_WHITE);
	GUI_DispStringAt("参数设置",0,39);
	GUI_DispStringAt("K1︽  K2《 K3》  K4︾",0,52);

	GUI_DispStringAt((char *)(esp8266.ssid),50,0);
	GUI_DispStringAt(TCP_SERVER,50,12);
	sprintf(buf,"端口:%d:",TCP_PORT);
	GUI_DispStringAt(buf,50,24);
	GUI_DispStringAt(esp8266.bconn ? "OK" : "ERR",50,36);
	GUI_DispStringAt(g_bUping ? "上传中" : "已关闭",80,36);

	GUI_DrawHLine(52,0,128);
	GUI_DrawVLine(48,0,52);

	GUI_Update();
}

void DrawGUI4(void)
{
	char buf[20];

	GUI_Clear();
	GUI_SetFont(&GUI_FontHZ_SimSun_12);
	GUI_DispStringAt("实时监测",0,0);
	GUI_DispStringAt("数据曲线",0,13);
	GUI_DispStringAt("无线通信",0,26);
	GUI_SetColor(GUI_COLOR_BLACK);
	GUI_DispStringAt("参数设置",0,39);
	GUI_SetColor(GUI_COLOR_WHITE);
	GUI_DispStringAt("K1︽  K2《 K3》  K4︾",0,52);

	GUI_DrawHLine(52,0,128);
	GUI_DrawVLine(48,0,52);

	GUI_DispStringAt("温度上限:",50,0);
	GUI_DispStringAt("震动灵敏度:",50,13);
	GUI_DispStringAt("报警时长:",50,26);
	GUI_DispStringAt("上传间隔:",50,39);

	sprintf(buf,"%.0f℃",templimit);
	if(paridx == 0)
		GUI_SetColor(GUI_COLOR_BLACK);
	GUI_DispStringAt(buf,104,0);
	GUI_SetColor(GUI_COLOR_WHITE);

	sprintf(buf,"%d",g_mpustep);
	if(paridx == 1)
		GUI_SetColor(GUI_COLOR_BLACK);
	GUI_DispStringAt(buf,116,13);
	GUI_SetColor(GUI_COLOR_WHITE);

	sprintf(buf,"%dS",g_warntime);
	if(paridx == 2)
		GUI_SetColor(GUI_COLOR_BLACK);
	GUI_DispStringAt(buf,104,26);
	GUI_SetColor(GUI_COLOR_WHITE);

	sprintf(buf,"%.1fS",g_upstep / 1000.0f);
	if(paridx == 3)
		GUI_SetColor(GUI_COLOR_BLACK);
	GUI_DispStringAt(buf,104,39);
	GUI_SetColor(GUI_COLOR_WHITE);

	GUI_Update();
}

void Beep(int time,int tune)
{
	static uint16_t TAB[] = {494,523,588,660,698,784,880,988};
	HAL_TIM_Base_Start(&htim3);

	if(tune >= 1 && tune <= 7)
	{
		int pre = 1000000 / TAB[tune];
		__HAL_TIM_SET_AUTORELOAD(&htim3,pre);
		__HAL_TIM_SET_COMPARE(&htim3,TIM_CHANNEL_1,pre / 2);

		beeptick = osKernelGetTickCount() + time;
		HAL_TIM_PWM_Start(&htim3,TIM_CHANNEL_1);
	}
}

void BeepDone(void)
{
	if(beeptick > 0 && osKernelGetTickCount() >= beeptick)
	{
		beeptick = 0;
		HAL_TIM_PWM_Stop(&htim3,TIM_CHANNEL_1);
	}
}

void DispSeg(uint8_t num[4],uint8_t dot)
{
	for(int i = 0;i < 4;++i)
	{
		Write595(i,num[i],(dot == (i + 1)) ? 1 : 0);
		osDelay(1);
	}
}

void InitESP8266(void)
{
	ESP_SetCIPMode(0);
	if(ESP_IsOK())
	{
		ESP_SetMode(3);
		ESP_GetSSID();

		if(ESP_JoinAP(AP_NAME,AP_PSW))
		{
			ESP_GetIPAddr();       //获取IP地址
			ESP_SetTCPServer(0,0); //关闭TCP服务器
			ESP_SetCIPMux(0);      //单连接模式
			printf("Station ip:%s\n",esp8266.st_addr);

			if(ESP_ClientToServer(TCP_SERVER,TCP_PORT))  //连接服务器
			{
				ESP_SetCIPMode(1);  //开启透传
				printf("ESP Init OK!\n");
			}
		}
	}
}
/* USER CODE END Application */

/************************ (C) COPYRIGHT STMicroelectronics *****END OF FILE****/
